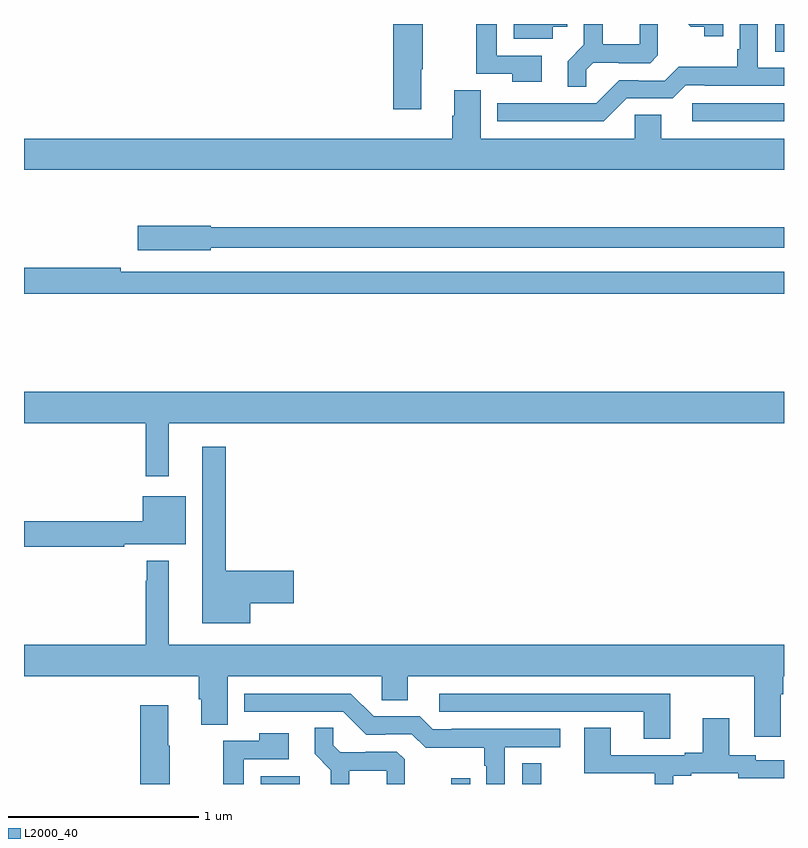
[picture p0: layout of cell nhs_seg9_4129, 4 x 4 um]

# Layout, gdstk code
import gdstk
lib = gdstk.Library(unit=1e-6, precision=1e-09)
def R(c, l, rs):  # rectangles x0, y0, x1, y1
    for r in rs: c.add(gdstk.rectangle(r[:2], r[2:], *l))
def P(c, l, *ps):  # polygons
    for p in ps: c.add(gdstk.Polygon(p, *l))
L2000_40 = (2000, 40)

nhs_seg9_4129 = lib.new_cell('nhs_seg9_4129')
R(nhs_seg9_4129, L2000_40, [(348.245,1214.5,348.451,1214.542), (349.248,1214.5,349.349,1214.53), (349.623,1214.5,349.722,1214.609), (350.517,1217.988,351,1218.084), (350.955,1218.355,351,1218.5)])
P(nhs_seg9_4129, L2000_40, [(349.959,1218.26),(349.996,1218.297),(350.13,1218.297),(350.13,1218.294),(350.295,1218.294),(350.336,1218.335),(350.336,1218.5),(350.242,1218.5),(350.242,1218.394),(350.045,1218.394),(350.045,1218.5),(349.947,1218.5),(349.947,1218.391),(349.861,1218.305),(349.861,1218.169),(349.959,1218.169)],
  [(349.783,1218.485),(349.858,1218.485),(349.858,1218.5),(349.577,1218.5),(349.577,1218.422),(349.783,1218.422)],
  [(349.09,1218.263),(349.098,1218.263),(349.098,1218.5),(348.944,1218.5),(348.944,1218.051),(349.09,1218.051)],
  [(350.172,1218.108),(350.415,1218.108),(350.484,1218.177),(350.584,1218.177),(350.584,1218.174),(351,1218.174),(351,1218.27),(350.862,1218.27),(350.862,1218.5),(350.766,1218.5),(350.766,1218.367),(350.754,1218.367),(350.754,1218.274),(350.446,1218.274),(350.373,1218.201),(350.234,1218.201),(350.234,1218.204),(350.133,1218.204),(350.013,1218.084),(349.49,1218.084),(349.49,1217.988),(350.052,1217.988)],
  [(349.726,1218.333),(349.488,1218.333),(349.488,1218.5),(349.38,1218.5),(349.38,1218.237),(349.57,1218.237),(349.57,1218.197),(349.726,1218.197)],
  [(350.681,1218.5),(350.495,1218.5),(350.51,1218.485),(350.58,1218.485),(350.58,1218.435),(350.681,1218.435)],
  [(351,1217.896),(350.353,1217.896),(350.353,1218.023),(350.214,1218.023),(350.214,1217.896),(349.405,1217.896),(349.405,1218.152),(349.265,1218.152),(349.265,1218.018),(349.253,1218.018),(349.253,1217.896),(347,1217.896),(347,1217.732),(351,1217.732)],
  [(347.982,1217.322),(351,1217.322),(351,1217.431),(347.982,1217.431),(347.982,1217.439),(347.598,1217.439),(347.598,1217.309),(347.982,1217.309)],
  [(351,1217.196),(347.51,1217.196),(347.51,1217.216),(347,1217.216),(347,1217.08),(351,1217.08)],
  [(347.761,1216.4),(351,1216.4),(351,1216.564),(347,1216.564),(347,1216.4),(347.64,1216.4),(347.64,1216.119),(347.761,1216.119)],
  [(348.19,1215.452),(348.421,1215.452),(348.421,1215.623),(348.061,1215.623),(348.061,1216.276),(347.939,1216.276),(347.939,1215.347),(348.19,1215.347)],
  [(347.528,1215.761),(347.851,1215.761),(347.851,1216.015),(347.624,1216.015),(347.624,1215.884),(347,1215.884),(347,1215.748),(347.528,1215.748)],
  [(350.983,1214.972),(350.996,1214.972),(350.996,1215.068),(351,1215.068),(351,1215.232),(347.761,1215.232),(347.761,1215.676),(347.646,1215.676),(347.646,1215.569),(347.64,1215.569),(347.64,1215.232),(347,1215.232),(347,1215.068),(347.921,1215.068),(347.921,1214.946),(347.933,1214.946),(347.933,1214.812),(348.073,1214.812),(348.073,1215.068),(348.882,1215.068),(348.882,1214.941),(349.021,1214.941),(349.021,1215.068),(350.843,1215.068),(350.843,1214.748),(350.983,1214.748)],
  [(350.401,1214.976),(349.185,1214.976),(349.185,1214.88),(350.261,1214.88),(350.261,1214.737),(350.401,1214.737)],
  [(349.53,1214.694),(349.822,1214.694),(349.822,1214.79),(349.252,1214.79),(349.252,1214.787),(349.152,1214.787),(349.083,1214.856),(348.84,1214.856),(348.72,1214.976),(348.158,1214.976),(348.158,1214.88),(348.681,1214.88),(348.801,1214.76),(348.902,1214.76),(348.902,1214.763),(349.041,1214.763),(349.114,1214.69),(349.422,1214.69),(349.422,1214.597),(349.434,1214.597),(349.434,1214.5),(349.53,1214.5)],
  [(347.766,1214.701),(347.758,1214.701),(347.758,1214.914),(347.612,1214.914),(347.612,1214.5),(347.766,1214.5)],
  [(350.416,1214.544),(350.512,1214.544),(350.512,1214.556),(350.76,1214.556),(350.76,1214.529),(351,1214.529),(351,1214.625),(350.85,1214.625),(350.85,1214.652),(350.713,1214.652),(350.713,1214.845),(350.573,1214.845),(350.573,1214.665),(350.477,1214.665),(350.477,1214.652),(350.089,1214.652),(350.089,1214.795),(349.949,1214.795),(349.949,1214.556),(350.319,1214.556),(350.319,1214.5),(350.416,1214.5)],
  [(348.713,1214.57),(348.91,1214.57),(348.91,1214.5),(349.004,1214.5),(349.004,1214.629),(348.963,1214.67),(348.798,1214.67),(348.798,1214.667),(348.664,1214.667),(348.627,1214.704),(348.627,1214.795),(348.529,1214.795),(348.529,1214.659),(348.615,1214.573),(348.615,1214.5),(348.713,1214.5)],
  [(348.156,1214.631),(348.394,1214.631),(348.394,1214.767),(348.238,1214.767),(348.238,1214.727),(348.048,1214.727),(348.048,1214.5),(348.156,1214.5)])

lib.write_gds('nhs_seg9_4129.gds')
